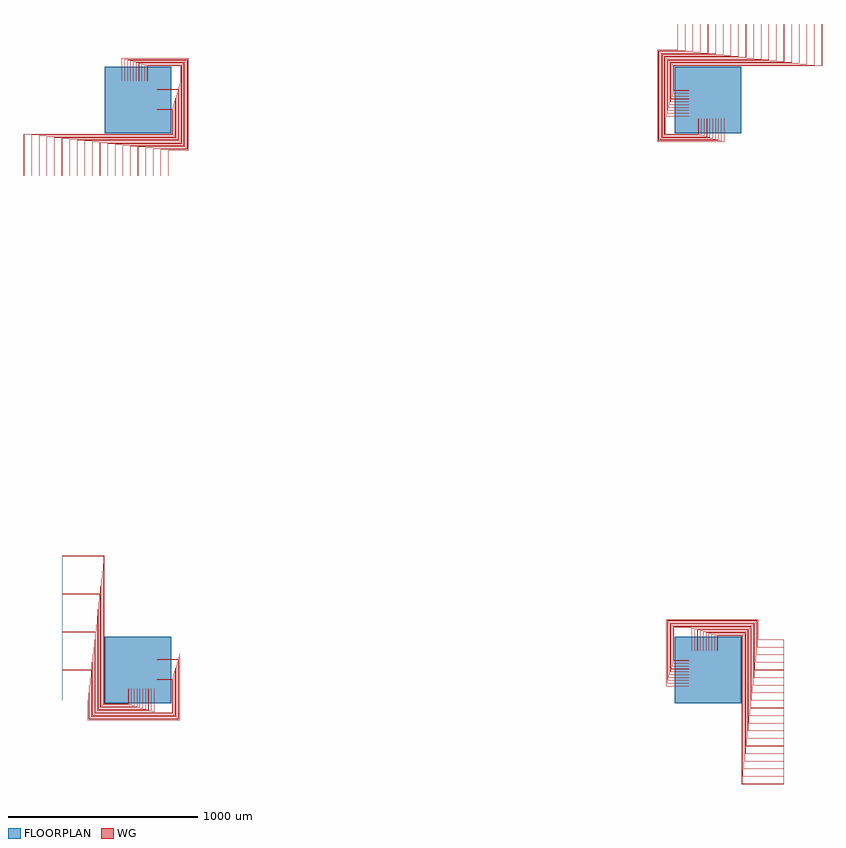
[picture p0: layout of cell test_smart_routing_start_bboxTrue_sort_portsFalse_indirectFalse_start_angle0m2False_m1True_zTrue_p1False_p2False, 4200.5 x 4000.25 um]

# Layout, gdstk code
import gdstk
lib = gdstk.Library(unit=1e-6, precision=1e-09)
def R(c, l, rs):  # rectangles x0, y0, x1, y1
    for r in rs: c.add(gdstk.rectangle(r[:2], r[2:], *l))
def P(c, l, *ps):  # polygons
    for p in ps: c.add(gdstk.Polygon(p, *l))
WG = (1, 0)
FLOORPLAN = (10, 0)

test_smart_routing_start = lib.new_cell('test_smart_routing_start_bboxTrue_sort_portsFalse_indirectFalse_start_angle0m2False_m1True_zTrue_p1False_p2False')
P(test_smart_routing_start, WG, [(-179.5,-179.5),(-179.5,599.75),(-400,599.75),(-400,600.25),(-179,600.25),(-179,-179),(-50.25,-179),(-50.25,-100),(-49.75,-100),(-49.75,-179.5)],
  [(-184,-184),(-184,559.75),(-400,559.75),(-400,560.25),(-183.5,560.25),(-183.5,-183.5),(-35.25,-183.5),(-35.25,-100),(-34.75,-100),(-34.75,-184)],
  [(-188.5,-188.5),(-188.5,519.75),(-400,519.75),(-400,520.25),(-188,520.25),(-188,-188),(-20.25,-188),(-20.25,-100),(-19.75,-100),(-19.75,-188.5)],
  [(-193,-193),(-193,479.75),(-400,479.75),(-400,480.25),(-192.5,480.25),(-192.5,-192.5),(-5.25,-192.5),(-5.25,-100),(-4.75,-100),(-4.75,-193)],
  [(-197.5,-197.5),(-197.5,439.75),(-400,439.75),(-400,440.25),(-197,440.25),(-197,-197),(9.75,-197),(9.75,-100),(10.25,-100),(10.25,-197.5)],
  [(-202,-202),(-202,399.75),(-400,399.75),(-400,400.25),(-201.5,400.25),(-201.5,-201.5),(24.75,-201.5),(24.75,-100),(25.25,-100),(25.25,-202)],
  [(-206.5,-206.5),(-206.5,359.75),(-400,359.75),(-400,360.25),(-206,360.25),(-206,-206),(39.75,-206),(39.75,-100),(40.25,-100),(40.25,-206.5)],
  [(-211,-211),(-211,319.75),(-400,319.75),(-400,320.25),(-210.5,320.25),(-210.5,-210.5),(54.75,-210.5),(54.75,-100),(55.25,-100),(55.25,-211)],
  [(-215.5,-215.5),(-215.5,279.75),(-400,279.75),(-400,280.25),(-215,280.25),(-215,-215),(69.75,-215),(69.75,-100),(70.25,-100),(70.25,-215.5)],
  [(-220,-220),(-220,239.75),(-400,239.75),(-400,240.25),(-219.5,240.25),(-219.5,-219.5),(84.75,-219.5),(84.75,-100),(85.25,-100),(85.25,-220)],
  [(-224.5,-224.5),(-224.5,199.75),(-400,199.75),(-400,200.25),(-224,200.25),(-224,-224),(179,-224),(179,-50.25),(100,-50.25),(100,-49.75),(179.5,-49.75),(179.5,-224.5)],
  [(-229,-229),(-229,159.75),(-400,159.75),(-400,160.25),(-228.5,160.25),(-228.5,-228.5),(183.5,-228.5),(183.5,-35.25),(100,-35.25),(100,-34.75),(184,-34.75),(184,-229)],
  [(-233.5,-233.5),(-233.5,119.75),(-400,119.75),(-400,120.25),(-233,120.25),(-233,-233),(188,-233),(188,-20.25),(100,-20.25),(100,-19.75),(188.5,-19.75),(188.5,-233.5)],
  [(-238,-238),(-238,79.75),(-400,79.75),(-400,80.25),(-237.5,80.25),(-237.5,-237.5),(192.5,-237.5),(192.5,-5.25),(100,-5.25),(100,-4.75),(193,-4.75),(193,-238)],
  [(-242.5,-242.5),(-242.5,39.75),(-400,39.75),(-400,40.25),(-242,40.25),(-242,-242),(197,-242),(197,9.75),(100,9.75),(100,10.25),(197.5,10.25),(197.5,-242.5)],
  [(-247,-247),(-247,-0.25),(-400,-0.25),(-400,0.25),(-246.5,0.25),(-246.5,-246.5),(201.5,-246.5),(201.5,24.75),(100,24.75),(100,25.25),(202,25.25),(202,-247)],
  [(-251.5,-251.5),(-251.5,-40.25),(-400,-40.25),(-400,-39.75),(-251,-39.75),(-251,-251),(206,-251),(206,39.75),(100,39.75),(100,40.25),(206.5,40.25),(206.5,-251.5)],
  [(-256,-256),(-256,-80.25),(-400,-80.25),(-400,-79.75),(-255.5,-79.75),(-255.5,-255.5),(210.5,-255.5),(210.5,54.75),(100,54.75),(100,55.25),(211,55.25),(211,-256)],
  [(-260.5,-260.5),(-260.5,-120.25),(-400,-120.25),(-400,-119.75),(-260,-119.75),(-260,-260),(215,-260),(215,69.75),(100,69.75),(100,70.25),(215.5,70.25),(215.5,-260.5)],
  [(-265,-265),(-265,-160.25),(-400,-160.25),(-400,-159.75),(-264.5,-159.75),(-264.5,-264.5),(219.5,-264.5),(219.5,84.75),(100,84.75),(100,85.25),(220,85.25),(220,-265)],
  [(-600.25,2600),(-600.25,2821),(179,2821),(179,2949.75),(100,2949.75),(100,2950.25),(179.5,2950.25),(179.5,2820.5),(-599.75,2820.5),(-599.75,2600)],
  [(-560.25,2600),(-560.25,2816.5),(183.5,2816.5),(183.5,2964.75),(100,2964.75),(100,2965.25),(184,2965.25),(184,2816),(-559.75,2816),(-559.75,2600)],
  [(-520.25,2600),(-520.25,2812),(188,2812),(188,2979.75),(100,2979.75),(100,2980.25),(188.5,2980.25),(188.5,2811.5),(-519.75,2811.5),(-519.75,2600)],
  [(-480.25,2600),(-480.25,2807.5),(192.5,2807.5),(192.5,2994.75),(100,2994.75),(100,2995.25),(193,2995.25),(193,2807),(-479.75,2807),(-479.75,2600)],
  [(-440.25,2600),(-440.25,2803),(197,2803),(197,3009.75),(100,3009.75),(100,3010.25),(197.5,3010.25),(197.5,2802.5),(-439.75,2802.5),(-439.75,2600)],
  [(-400.25,2600),(-400.25,2798.5),(201.5,2798.5),(201.5,3024.75),(100,3024.75),(100,3025.25),(202,3025.25),(202,2798),(-399.75,2798),(-399.75,2600)],
  [(-360.25,2600),(-360.25,2794),(206,2794),(206,3039.75),(100,3039.75),(100,3040.25),(206.5,3040.25),(206.5,2793.5),(-359.75,2793.5),(-359.75,2600)],
  [(-320.25,2600),(-320.25,2789.5),(210.5,2789.5),(210.5,3054.75),(100,3054.75),(100,3055.25),(211,3055.25),(211,2789),(-319.75,2789),(-319.75,2600)],
  [(-280.25,2600),(-280.25,2785),(215,2785),(215,3069.75),(100,3069.75),(100,3070.25),(215.5,3070.25),(215.5,2784.5),(-279.75,2784.5),(-279.75,2600)],
  [(-240.25,2600),(-240.25,2780.5),(219.5,2780.5),(219.5,3084.75),(100,3084.75),(100,3085.25),(220,3085.25),(220,2780),(-239.75,2780),(-239.75,2600)],
  [(-200.25,2600),(-200.25,2776),(224,2776),(224,3179),(50.25,3179),(50.25,3100),(49.75,3100),(49.75,3179.5),(224.5,3179.5),(224.5,2775.5),(-199.75,2775.5),(-199.75,2600)],
  [(-160.25,2600),(-160.25,2771.5),(228.5,2771.5),(228.5,3183.5),(35.25,3183.5),(35.25,3100),(34.75,3100),(34.75,3184),(229,3184),(229,2771),(-159.75,2771),(-159.75,2600)],
  [(-120.25,2600),(-120.25,2767),(233,2767),(233,3188),(20.25,3188),(20.25,3100),(19.75,3100),(19.75,3188.5),(233.5,3188.5),(233.5,2766.5),(-119.75,2766.5),(-119.75,2600)],
  [(-80.25,2600),(-80.25,2762.5),(237.5,2762.5),(237.5,3192.5),(5.25,3192.5),(5.25,3100),(4.75,3100),(4.75,3193),(238,3193),(238,2762),(-79.75,2762),(-79.75,2600)],
  [(-40.25,2600),(-40.25,2758),(242,2758),(242,3197),(-9.75,3197),(-9.75,3100),(-10.25,3100),(-10.25,3197.5),(242.5,3197.5),(242.5,2757.5),(-39.75,2757.5),(-39.75,2600)],
  [(-0.25,2600),(-0.25,2753.5),(246.5,2753.5),(246.5,3201.5),(-24.75,3201.5),(-24.75,3100),(-25.25,3100),(-25.25,3202),(247,3202),(247,2753),(0.25,2753),(0.25,2600)],
  [(39.75,2600),(39.75,2749),(251,2749),(251,3206),(-39.75,3206),(-39.75,3100),(-40.25,3100),(-40.25,3206.5),(251.5,3206.5),(251.5,2748.5),(40.25,2748.5),(40.25,2600)],
  [(79.75,2600),(79.75,2744.5),(255.5,2744.5),(255.5,3210.5),(-54.75,3210.5),(-54.75,3100),(-55.25,3100),(-55.25,3211),(256,3211),(256,2744),(80.25,2744),(80.25,2600)],
  [(119.75,2600),(119.75,2740),(260,2740),(260,3215),(-69.75,3215),(-69.75,3100),(-70.25,3100),(-70.25,3215.5),(260.5,3215.5),(260.5,2739.5),(120.25,2739.5),(120.25,2600)],
  [(159.75,2600),(159.75,2735.5),(264.5,2735.5),(264.5,3219.5),(-84.75,3219.5),(-84.75,3100),(-85.25,3100),(-85.25,3220),(265,3220),(265,2735),(160.25,2735),(160.25,2600)],
  [(3179,-600.25),(3179,179),(3050.25,179),(3050.25,100),(3049.75,100),(3049.75,179.5),(3179.5,179.5),(3179.5,-599.75),(3400,-599.75),(3400,-600.25)],
  [(3183.5,-560.25),(3183.5,183.5),(3035.25,183.5),(3035.25,100),(3034.75,100),(3034.75,184),(3184,184),(3184,-559.75),(3400,-559.75),(3400,-560.25)],
  [(3188,-520.25),(3188,188),(3020.25,188),(3020.25,100),(3019.75,100),(3019.75,188.5),(3188.5,188.5),(3188.5,-519.75),(3400,-519.75),(3400,-520.25)],
  [(3192.5,-480.25),(3192.5,192.5),(3005.25,192.5),(3005.25,100),(3004.75,100),(3004.75,193),(3193,193),(3193,-479.75),(3400,-479.75),(3400,-480.25)],
  [(3197,-440.25),(3197,197),(2990.25,197),(2990.25,100),(2989.75,100),(2989.75,197.5),(3197.5,197.5),(3197.5,-439.75),(3400,-439.75),(3400,-440.25)],
  [(3201.5,-400.25),(3201.5,201.5),(2975.25,201.5),(2975.25,100),(2974.75,100),(2974.75,202),(3202,202),(3202,-399.75),(3400,-399.75),(3400,-400.25)],
  [(3206,-360.25),(3206,206),(2960.25,206),(2960.25,100),(2959.75,100),(2959.75,206.5),(3206.5,206.5),(3206.5,-359.75),(3400,-359.75),(3400,-360.25)],
  [(3210.5,-320.25),(3210.5,210.5),(2945.25,210.5),(2945.25,100),(2944.75,100),(2944.75,211),(3211,211),(3211,-319.75),(3400,-319.75),(3400,-320.25)],
  [(3215,-280.25),(3215,215),(2930.25,215),(2930.25,100),(2929.75,100),(2929.75,215.5),(3215.5,215.5),(3215.5,-279.75),(3400,-279.75),(3400,-280.25)],
  [(3219.5,-240.25),(3219.5,219.5),(2915.25,219.5),(2915.25,100),(2914.75,100),(2914.75,220),(3220,220),(3220,-239.75),(3400,-239.75),(3400,-240.25)],
  [(3224,-200.25),(3224,224),(2821,224),(2821,50.25),(2900,50.25),(2900,49.75),(2820.5,49.75),(2820.5,224.5),(3224.5,224.5),(3224.5,-199.75),(3400,-199.75),(3400,-200.25)],
  [(3228.5,-160.25),(3228.5,228.5),(2816.5,228.5),(2816.5,35.25),(2900,35.25),(2900,34.75),(2816,34.75),(2816,229),(3229,229),(3229,-159.75),(3400,-159.75),(3400,-160.25)],
  [(3233,-120.25),(3233,233),(2812,233),(2812,20.25),(2900,20.25),(2900,19.75),(2811.5,19.75),(2811.5,233.5),(3233.5,233.5),(3233.5,-119.75),(3400,-119.75),(3400,-120.25)],
  [(3237.5,-80.25),(3237.5,237.5),(2807.5,237.5),(2807.5,5.25),(2900,5.25),(2900,4.75),(2807,4.75),(2807,238),(3238,238),(3238,-79.75),(3400,-79.75),(3400,-80.25)],
  [(3242,-40.25),(3242,242),(2803,242),(2803,-9.75),(2900,-9.75),(2900,-10.25),(2802.5,-10.25),(2802.5,242.5),(3242.5,242.5),(3242.5,-39.75),(3400,-39.75),(3400,-40.25)],
  [(2798,-25.25),(2798,247),(3247,247),(3247,0.25),(3400,0.25),(3400,-0.25),(3246.5,-0.25),(3246.5,246.5),(2798.5,246.5),(2798.5,-24.75),(2900,-24.75),(2900,-25.25)],
  [(2793.5,-40.25),(2793.5,251.5),(3251.5,251.5),(3251.5,40.25),(3400,40.25),(3400,39.75),(3251,39.75),(3251,251),(2794,251),(2794,-39.75),(2900,-39.75),(2900,-40.25)],
  [(2789,-55.25),(2789,256),(3256,256),(3256,80.25),(3400,80.25),(3400,79.75),(3255.5,79.75),(3255.5,255.5),(2789.5,255.5),(2789.5,-54.75),(2900,-54.75),(2900,-55.25)],
  [(2784.5,-70.25),(2784.5,260.5),(3260.5,260.5),(3260.5,120.25),(3400,120.25),(3400,119.75),(3260,119.75),(3260,260),(2785,260),(2785,-69.75),(2900,-69.75),(2900,-70.25)],
  [(2780,-85.25),(2780,265),(3265,265),(3265,160.25),(3400,160.25),(3400,159.75),(3264.5,159.75),(3264.5,264.5),(2780.5,264.5),(2780.5,-84.75),(2900,-84.75),(2900,-85.25)],
  [(2820.5,3049.75),(2820.5,3179.5),(3599.75,3179.5),(3599.75,3400),(3600.25,3400),(3600.25,3179),(2821,3179),(2821,3050.25),(2900,3050.25),(2900,3049.75)],
  [(2816,3034.75),(2816,3184),(3559.75,3184),(3559.75,3400),(3560.25,3400),(3560.25,3183.5),(2816.5,3183.5),(2816.5,3035.25),(2900,3035.25),(2900,3034.75)],
  [(2811.5,3019.75),(2811.5,3188.5),(3519.75,3188.5),(3519.75,3400),(3520.25,3400),(3520.25,3188),(2812,3188),(2812,3020.25),(2900,3020.25),(2900,3019.75)],
  [(2807,3004.75),(2807,3193),(3479.75,3193),(3479.75,3400),(3480.25,3400),(3480.25,3192.5),(2807.5,3192.5),(2807.5,3005.25),(2900,3005.25),(2900,3004.75)],
  [(2802.5,2989.75),(2802.5,3197.5),(3439.75,3197.5),(3439.75,3400),(3440.25,3400),(3440.25,3197),(2803,3197),(2803,2990.25),(2900,2990.25),(2900,2989.75)],
  [(2798,2974.75),(2798,3202),(3399.75,3202),(3399.75,3400),(3400.25,3400),(3400.25,3201.5),(2798.5,3201.5),(2798.5,2975.25),(2900,2975.25),(2900,2974.75)],
  [(2793.5,2959.75),(2793.5,3206.5),(3359.75,3206.5),(3359.75,3400),(3360.25,3400),(3360.25,3206),(2794,3206),(2794,2960.25),(2900,2960.25),(2900,2959.75)],
  [(2789,2944.75),(2789,3211),(3319.75,3211),(3319.75,3400),(3320.25,3400),(3320.25,3210.5),(2789.5,3210.5),(2789.5,2945.25),(2900,2945.25),(2900,2944.75)],
  [(2784.5,2929.75),(2784.5,3215.5),(3279.75,3215.5),(3279.75,3400),(3280.25,3400),(3280.25,3215),(2785,3215),(2785,2930.25),(2900,2930.25),(2900,2929.75)],
  [(2780,2914.75),(2780,3220),(3239.75,3220),(3239.75,3400),(3240.25,3400),(3240.25,3219.5),(2780.5,3219.5),(2780.5,2915.25),(2900,2915.25),(2900,2914.75)],
  [(2775.5,2820.5),(2775.5,3224.5),(3199.75,3224.5),(3199.75,3400),(3200.25,3400),(3200.25,3224),(2776,3224),(2776,2821),(2949.75,2821),(2949.75,2900),(2950.25,2900),(2950.25,2820.5)],
  [(2771,2816),(2771,3229),(3159.75,3229),(3159.75,3400),(3160.25,3400),(3160.25,3228.5),(2771.5,3228.5),(2771.5,2816.5),(2964.75,2816.5),(2964.75,2900),(2965.25,2900),(2965.25,2816)],
  [(2766.5,2811.5),(2766.5,3233.5),(3119.75,3233.5),(3119.75,3400),(3120.25,3400),(3120.25,3233),(2767,3233),(2767,2812),(2979.75,2812),(2979.75,2900),(2980.25,2900),(2980.25,2811.5)],
  [(2762,2807),(2762,3238),(3079.75,3238),(3079.75,3400),(3080.25,3400),(3080.25,3237.5),(2762.5,3237.5),(2762.5,2807.5),(2994.75,2807.5),(2994.75,2900),(2995.25,2900),(2995.25,2807)],
  [(2757.5,2802.5),(2757.5,3242.5),(3039.75,3242.5),(3039.75,3400),(3040.25,3400),(3040.25,3242),(2758,3242),(2758,2803),(3009.75,2803),(3009.75,2900),(3010.25,2900),(3010.25,2802.5)],
  [(2753,2798),(2753,3247),(2999.75,3247),(2999.75,3400),(3000.25,3400),(3000.25,3246.5),(2753.5,3246.5),(2753.5,2798.5),(3024.75,2798.5),(3024.75,2900),(3025.25,2900),(3025.25,2798)],
  [(2748.5,2793.5),(2748.5,3251.5),(2959.75,3251.5),(2959.75,3400),(2960.25,3400),(2960.25,3251),(2749,3251),(2749,2794),(3039.75,2794),(3039.75,2900),(3040.25,2900),(3040.25,2793.5)],
  [(2744,2789),(2744,3256),(2919.75,3256),(2919.75,3400),(2920.25,3400),(2920.25,3255.5),(2744.5,3255.5),(2744.5,2789.5),(3054.75,2789.5),(3054.75,2900),(3055.25,2900),(3055.25,2789)],
  [(2739.5,2784.5),(2739.5,3260.5),(2879.75,3260.5),(2879.75,3400),(2880.25,3400),(2880.25,3260),(2740,3260),(2740,2785),(3069.75,2785),(3069.75,2900),(3070.25,2900),(3070.25,2784.5)],
  [(2735,2780),(2735,3265),(2839.75,3265),(2839.75,3400),(2840.25,3400),(2840.25,3264.5),(2735.5,3264.5),(2735.5,2780.5),(3084.75,2780.5),(3084.75,2900),(3085.25,2900),(3085.25,2780)])
R(test_smart_routing_start, FLOORPLAN, [(-175,-175,175,175), (2825,-175,3175,175), (-175,2825,175,3175), (2825,2825,3175,3175)])
P(test_smart_routing_start, FLOORPLAN, [(-400,-160),(-400,600),(-400,600),(-400,-160)],
  [(-600,2600),(-600,2600),(160,2600),(160,2600)],
  [(3400,-600),(3400,160),(3400,160),(3400,-600)],
  [(2840,3400),(2840,3400),(3600,3400),(3600,3400)])

lib.write_gds('test_smart_routing_start_bboxTrue_sort_portsFalse_indirectFalse_start_angle0m2False_m1True_zTrue_p1False_p2False.gds')
